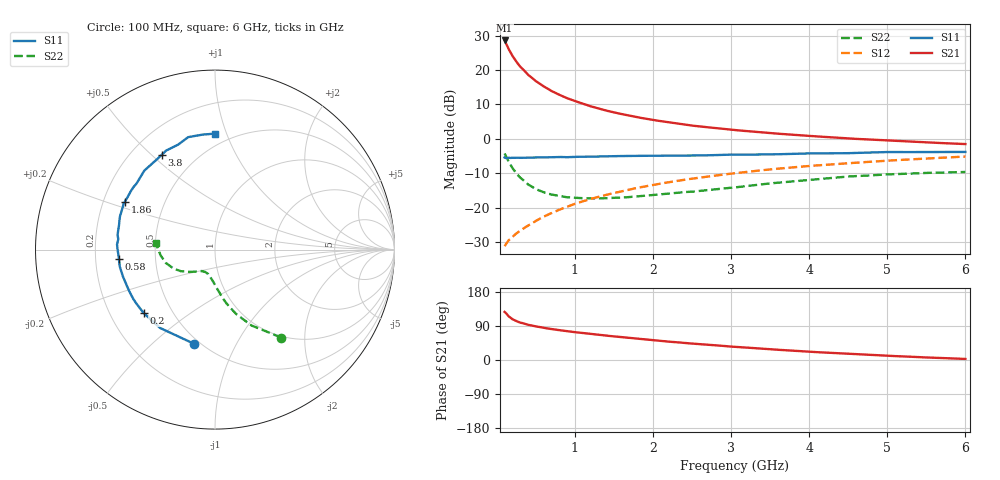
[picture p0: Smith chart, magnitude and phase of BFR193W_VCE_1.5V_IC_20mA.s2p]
! Infineon Technologies  Discrete & RF Semiconductors
! BFR193W
! VCE =  1.5 V,  IC =  20 mA
! Common Emitter S-Parameters:  Nov 2015
# GHz  S  MA  R  50
!  f  S11  S21  S12  S22
! GHz  MAG  ANG  MAG  ANG  MAG  ANG  MAG  ANG
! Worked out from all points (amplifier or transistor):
!   192 points, 100 MHz to 6 GHz, reference 50 ohm
!   highest |S21| = 28.6 dB at 100 MHz (marker M1)
!   |S21| within 3 dB of that: start of sweep to 164.4 MHz
!   unconditionally stable (mu >= 1): 693.2 MHz to 2.65 GHz
!   at 440 MHz: K = 0.90, MSG = 21.3 dB, |S12| = -24.6 dB
!   at 1.7 GHz: K = 1.03, MAG = 9.6 dB, |S12| = -14.7 dB
!   at 6 GHz: K = 0.92, MSG = 1.8 dB, |S12| = -5.1 dB
!   S11 on the Smith chart (normalised r, x): 100 MHz: 0.47, -0.69; 200 MHz: 0.35, -0.34; 580 MHz: 0.30, -0.05; 1.86 GHz: 0.29, +0.23; 3.8 GHz: 0.32, +0.54; 6 GHz: 0.41, +0.91
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0.1  0.5376 -102.5  26.95 126.9  0.0276 56.1  0.614 -53.0
0.15  0.5332 -125.0  20.32 115.2  0.0334 53.4  0.4682 -64.4
0.2  0.5318 -138.4  16.1 107.7  0.0376 53.3  0.3775 -71.8
0.24  0.5314 -145.7  13.79 103.8  0.0413 54.5  0.3266 -76.0
0.26  0.5318 -148.8  12.82 101.9  0.043 55.1  0.3059 -78.0
0.3  0.5313 -154.2  11.22 98.7  0.0463 56.4  0.2733 -81.0
0.4  0.5345 -163.8  8.547 92.9  0.0549 59.5  0.2181 -87.0
0.5  0.5391 -170.1  6.907 88.6  0.0642 62.1  0.1861 -91.6
0.58  0.5379 -174.3  6.014 85.7  0.072 63.4  0.1713 -95.2
0.7  0.5422 -179.2  4.97 81.6  0.0835 65.1  0.1554 -99.4
0.8  0.5466 177.0  4.379 78.7  0.0934 65.9  0.1483 -102.8
0.9  0.5421 173.9  3.903 76.0  0.1034 66.3  0.1418 -105.2
1.1  0.5498 168.5  3.258 71.3  0.1237 66.6  0.1375 -110.5
1.4  0.5606 161.3  2.579 64.4  0.1536 66.2  0.1374 -117.4
1.86  0.5687 152.0  2.007 55.0  0.2002 64.1  0.1481 -125.8
2.08  0.569 147.5  1.825 50.8  0.2221 62.9  0.1556 -128.6
2.5  0.5709 140.3  1.56 43.3  0.2641 60.1  0.1709 -133.8
3.1  0.5906 130.4  1.327 34.1  0.3218 55.2  0.2002 -141.9
3.8  0.6059 119.3  1.146 24.4  0.3863 49.1  0.242 -152.6
4.1  0.6156 114.8  1.086 20.7  0.4117 46.5  0.2593 -157.4
5.1  0.6433 102.0  0.937 10.3  0.4899 37.8  0.3073 -175.5
6  0.6461 90.2  0.841 2.8  0.5536 29.7  0.3304 173.3
